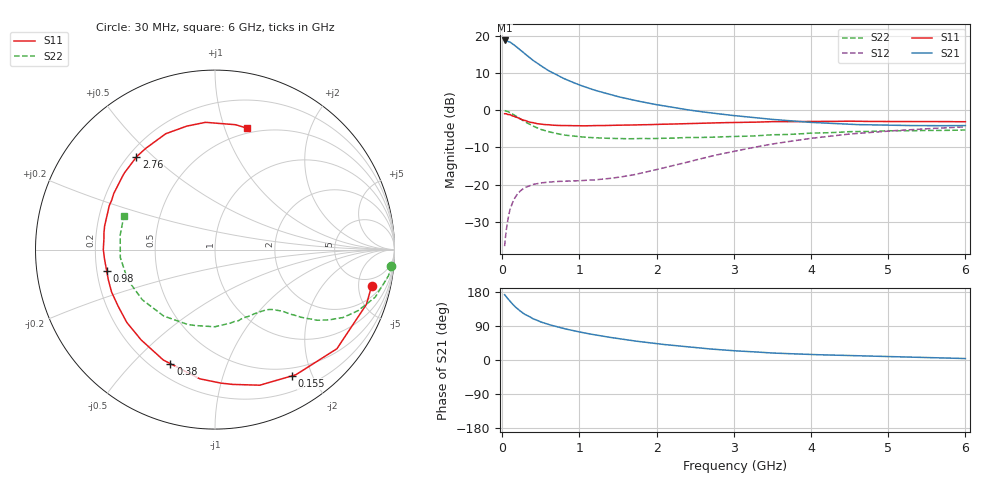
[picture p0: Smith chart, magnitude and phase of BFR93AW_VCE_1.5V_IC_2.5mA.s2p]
! Infineon Technologies  Discrete & RF Semiconductors
! BFR93AW
! VCE =  1.5 V,  IC =  2.5 mA
! Common Emitter S-Parameters:  Nov 2015
# GHz  S  MA  R  50
!  f  S11  S21  S12  S22
! GHz  MAG  ANG  MAG  ANG  MAG  ANG  MAG  ANG
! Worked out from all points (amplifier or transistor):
!   206 points, 30 MHz to 6 GHz, reference 50 ohm
!   highest |S21| = 18.7 dB at 30 MHz (marker M1)
!   |S21| within 3 dB of that: start of sweep to 259.3 MHz
!   unconditionally stable (mu >= 1): 1.149 GHz to 2.58 GHz; 5.871 GHz to end of sweep
!   at 200 MHz: K = 0.19, MSG = 19.6 dB, |S12| = -22.4 dB
!   at 1.56 GHz: K = 1.16, MAG = 8.2 dB, |S12| = -17.9 dB
!   at 6 GHz: K = 1.00, MAG = -0.1 dB, |S12| = -4.5 dB
!   S11 on the Smith chart (normalised r, x): 30 MHz: 3.47, -7.11; 155 MHz: 0.39, -1.72; 380 MHz: 0.27, -0.65; 980 MHz: 0.24, -0.09; 2.76 GHz: 0.23, +0.44; 6 GHz: 0.45, +1.19
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0.03  0.8962 -13.0  8.636 172.3  0.0149 82.8  0.9867 -5.2
0.05  0.8972 -19.9  8.593 166.9  0.0237 79.1  0.9774 -8.6
0.1  0.8755 -39.1  8.227 154.8  0.0463 69.3  0.9314 -16.5
0.155  0.8244 -58.5  7.496 142.7  0.0643 59.6  0.8625 -23.4
0.2  0.7957 -71.7  6.901 134.4  0.0761 53.3  0.8066 -28.0
0.26  0.7448 -87.4  6.105 125.0  0.0864 46.9  0.7338 -32.3
0.3  0.7249 -96.7  5.642 119.6  0.0918 43.4  0.693 -34.6
0.38  0.6826 -111.3  4.837 111.2  0.0988 38.7  0.6259 -37.4
0.4  0.6793 -115.1  4.655 108.7  0.1007 37.7  0.6094 -38.2
0.5  0.65 -129.3  3.946 100.3  0.1054 34.4  0.5513 -40.6
0.6  0.6373 -140.5  3.391 93.6  0.1082 32.7  0.5136 -42.2
0.8  0.6228 -157.8  2.655 82.7  0.111 32.3  0.4636 -46.1
0.98  0.6152 -168.9  2.221 74.8  0.1126 34.4  0.4424 -49.3
1.04  0.6157 -172.2  2.107 72.4  0.1135 35.3  0.4364 -50.8
1.2  0.6223 179.9  1.85 66.3  0.1158 38.6  0.4263 -54.7
1.5  0.6288 168.0  1.518 56.5  0.1252 46.1  0.417 -62.8
2.02  0.6452 150.4  1.176 42.5  0.161 57.1  0.4185 -78.8
2.76  0.6756 130.4  0.904 28.1  0.248 61.2  0.4349 -102.7
3.1  0.6848 122.1  0.827 23.4  0.2934 59.3  0.4451 -113.6
4.1  0.7055 101.2  0.677 13.9  0.4298 47.5  0.4936 -148.6
5.1  0.703 85.7  0.625 8.6  0.5323 33.1  0.528 -177.9
6  0.6994 75.2  0.621 3.8  0.5968 21.3  0.5415 159.5
